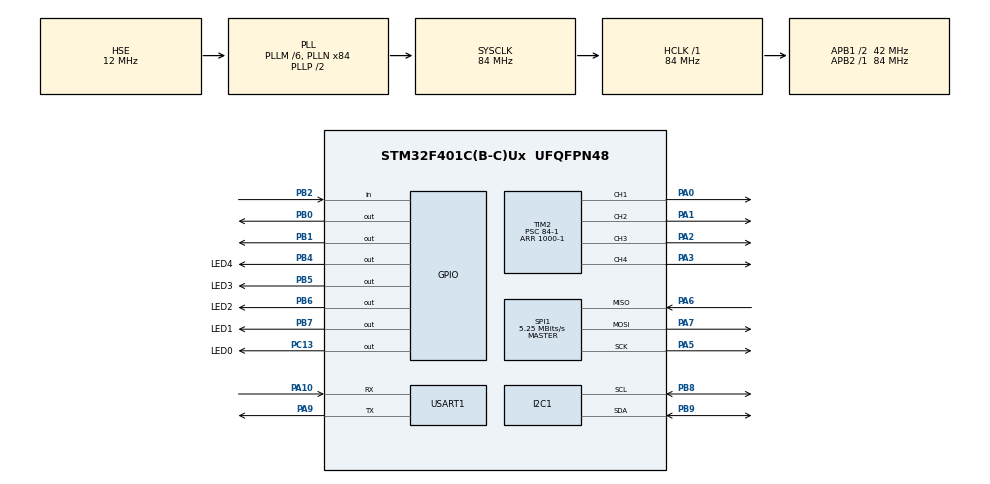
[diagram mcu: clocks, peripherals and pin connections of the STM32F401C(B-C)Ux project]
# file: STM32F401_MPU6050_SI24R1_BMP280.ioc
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Mcu.Family=STM32F4
Mcu.Name=STM32F401C(B-C)Ux
Mcu.Package=UFQFPN48
NVIC.I2C1_ER_IRQn=true\:0\:0\:false\:false\:true\:true\:true
NVIC.I2C1_EV_IRQn=true\:0\:0\:false\:false\:true\:true\:true
NVIC.PriorityGroup=NVIC_PRIORITYGROUP_4
NVIC.SPI1_IRQn=true\:0\:0\:false\:false\:true\:true\:true
NVIC.TIM2_IRQn=true\:0\:0\:false\:false\:true\:true\:true
NVIC.USART1_IRQn=true\:0\:0\:false\:false\:true\:true\:true
PA0-WKUP.GPIO_PuPd=GPIO_PULLUP
PA0-WKUP.GPIO_Speed=GPIO_SPEED_FREQ_LOW
PA0-WKUP.Signal=S_TIM2_CH1_ETR
PA1.GPIO_PuPd=GPIO_PULLUP
PA1.GPIO_Speed=GPIO_SPEED_FREQ_LOW
PA1.Signal=S_TIM2_CH2
PA10.Mode=Asynchronous
PA10.Signal=USART1_RX
PA13.Mode=Serial_Wire
PA13.Signal=SYS_JTMS-SWDIO
PA14.Mode=Serial_Wire
PA14.Signal=SYS_JTCK-SWCLK
PA2.GPIO_PuPd=GPIO_PULLUP
PA2.GPIO_Speed=GPIO_SPEED_FREQ_LOW
PA2.Signal=S_TIM2_CH3
PA3.GPIO_PuPd=GPIO_PULLUP
PA3.Signal=S_TIM2_CH4
PA5.Mode=Full_Duplex_Master
PA5.Signal=SPI1_SCK
PA6.Mode=Full_Duplex_Master
PA6.Signal=SPI1_MISO
PA7.Mode=Full_Duplex_Master
PA7.Signal=SPI1_MOSI
PA9.Mode=Asynchronous
PA9.Signal=USART1_TX
PB0.GPIO_PuPd=GPIO_PULLUP
PB0.GPIO_Speed=GPIO_SPEED_FREQ_HIGH
PB0.Signal=GPIO_Output
PB1.GPIO_PuPd=GPIO_PULLUP
PB1.GPIO_Speed=GPIO_SPEED_FREQ_HIGH
PB1.Signal=GPIO_Output
PB2.GPIO_PuPd=GPIO_NOPULL
PB2.Signal=GPIO_Input
PB4.GPIO_Label=LED4
PB4.GPIO_PuPd=GPIO_PULLUP
PB4.PinState=GPIO_PIN_SET
PB4.Signal=GPIO_Output
PB5.GPIO_Label=LED3
PB5.GPIO_PuPd=GPIO_PULLUP
PB5.PinState=GPIO_PIN_SET
PB5.Signal=GPIO_Output
PB6.GPIO_Label=LED2
PB6.GPIO_PuPd=GPIO_PULLUP
PB6.PinState=GPIO_PIN_SET
PB6.Signal=GPIO_Output
PB7.GPIO_Label=LED1
PB7.GPIO_PuPd=GPIO_PULLUP
PB7.PinState=GPIO_PIN_SET
PB7.Signal=GPIO_Output
PB8.Mode=I2C
PB8.Signal=I2C1_SCL
PB9.Mode=I2C
PB9.Signal=I2C1_SDA
PC13-ANTI_TAMP.GPIO_Label=LED0
PC13-ANTI_TAMP.GPIO_PuPd=GPIO_PULLUP
PC13-ANTI_TAMP.PinState=GPIO_PIN_SET
PC13-ANTI_TAMP.Signal=GPIO_Output
PH0\ -\ OSC_IN.Mode=HSE-External-Oscillator
PH0\ -\ OSC_IN.Signal=RCC_OSC_IN
PH1\ -\ OSC_OUT.Mode=HSE-External-Oscillator
PH1\ -\ OSC_OUT.Signal=RCC_OSC_OUT
ProjectManager.HeapSize=0x200
ProjectManager.StackSize=0x400
ProjectManager.TargetToolchain=MDK-ARM V5
RCC.48MHZClocksFreq_Value=42000000
RCC.AHBFreq_Value=84000000
RCC.APB1CLKDivider=RCC_HCLK_DIV2
RCC.APB1Freq_Value=42000000
RCC.APB1TimFreq_Value=84000000
RCC.APB2Freq_Value=84000000
RCC.APB2TimFreq_Value=84000000
RCC.CortexFreq_Value=84000000
RCC.HCLKFreq_Value=84000000
RCC.HSE_VALUE=12000000
RCC.HSI_VALUE=16000000
RCC.LSE_VALUE=32768
RCC.PLLM=6
RCC.PLLN=84
RCC.PLLSourceVirtual=RCC_PLLSOURCE_HSE
RCC.SYSCLKFreq_VALUE=84000000
RCC.SYSCLKSource=RCC_SYSCLKSOURCE_PLLCLK
RCC.VCOOutputFreq_Value=168000000
SH.S_TIM2_CH1_ETR.0=TIM2_CH1,PWM Generation1 CH1
SH.S_TIM2_CH2.0=TIM2_CH2,PWM Generation2 CH2
SH.S_TIM2_CH3.0=TIM2_CH3,PWM Generation3 CH3
SH.S_TIM2_CH4.0=TIM2_CH4,PWM Generation4 CH4
SPI1.BaudRatePrescaler=SPI_BAUDRATEPRESCALER_16
SPI1.CalculateBaudRate=5.25 MBits/s
SPI1.Direction=SPI_DIRECTION_2LINES
SPI1.Mode=SPI_MODE_MASTER
SPI1.VirtualType=VM_MASTER
TIM2.Channel-PWM\ Generation1\ CH1=TIM_CHANNEL_1
TIM2.Channel-PWM\ Generation2\ CH2=TIM_CHANNEL_2
TIM2.Channel-PWM\ Generation3\ CH3=TIM_CHANNEL_3
TIM2.Channel-PWM\ Generation4\ CH4=TIM_CHANNEL_4
TIM2.Period=1000-1
TIM2.Prescaler=84-1
USART1.VirtualMode=VM_ASYNC
VP_TIM2_VS_ClockSourceINT.Mode=Internal
board=custom

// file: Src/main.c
/* USER CODE BEGIN Header */
/**
  ******************************************************************************
  * @file           : main.c
  * @brief          : Main program body
  ******************************************************************************
  * @attention
  *
  * <h2><center>&copy; Copyright (c) 2022 STMicroelectronics.
  * All rights reserved.</center></h2>
  *
  * This software component is licensed by ST under BSD 3-Clause license,
  * the "License"; You may not use this file except in compliance with the
  * License. You may obtain a copy of the License at:
  *                        opensource.org/licenses/BSD-3-Clause
  *
  ******************************************************************************
  */
/* USER CODE END Header */

#include "main.h"
#include "i2c.h"
#include "spi.h"
#include "tim.h"
#include "usart.h"
#include "gpio.h"

/* USER CODE BEGIN Includes */
#include <stdio.h>
#include "mpu6050.h"//MPU6050驱动库
#include "inv_mpu.h"//陀螺仪驱动库
#include "inv_mpu_dmp_motion_driver.h" //DMP姿态解读库
#include "SI24R1.h"
#include "bmp280.h"
#include "pid.h"
/* USER CODE END Includes */

/* USER CODE BEGIN PM */
char tmp_buf[33];			//字符串数组
float pitch,roll,yaw; 		//欧拉角:俯仰角，偏航角，滚转角
short aacx,aacy,aacz;		//加速度传感器原始数据  angular acceleration
short gyrox,gyroy,gyroz;	//陀螺仪原始数据  gyroscope
short temp;					//温度

struct MPU6050				//MPU6050结构体
{
	u8 flag;				//采集成功标志位
	u8 speed;				//上报速度
}mpu6050;					//唯一结构体变量

//SI24R1有关变量
uint8_t Data[32]={0};

//BMP280相关变量
BMP280_HandleTypedef bmp280;

float pressure, temperature, humidity;

uint8_t bmp280_id = 0;

uint8_t ctr_reg = 0;
uint8_t status_reg = 0;

int32_t tem = 0;

double Pressure,Temperature;

PID_TYPE PID_ROL_Angle;
PID_TYPE PID_PIT_Angle;
PID_TYPE PID_YAW_Angle;

//
uint8_t Airplane_Enable = 0;
uint16_t motor_pwm[4]={0};
uint16_t motor_THROTTLE = 0;
float pitch_target=0,roll_target=0,yaw_target=0; 		//当前期望值：欧拉角:俯仰角，偏航角，滚转角

/* USER CODE END PM */

void SystemClock_Config(void);

int main(void)
{

  /* MCU Configuration--------------------------------------------------------*/

  /* Reset of all peripherals, Initializes the Flash interface and the Systick. */
  HAL_Init();

  /* Configure the system clock */
  SystemClock_Config();

  /* Initialize all configured peripherals */
  MX_GPIO_Init();
  MX_USART1_UART_Init();
  MX_SPI1_Init();
  MX_TIM2_Init();
  MX_I2C1_Init();
  /* USER CODE BEGIN 2 */
	MPU_Init();	//初始化MPU6050
	while(mpu_dmp_init())                   	//初始化mpu_dmp库
 	{
		printf("MPU6050 initialization failed！\r\n");	//串口初始化失败上报
	}
	printf("MPU6050 initialization succeed！\r\n");		//串口初始化成功上报
	HAL_Delay(999);														//延时初界面显示
	mpu6050.flag = 0;                      		//采集成功标志位初始化
	mpu6050.speed = 0;												//上报速度初始化

	//初始化BMP280
	bmp280_init_default_params(&bmp280.params);
	bmp280.addr = BMP280_I2C_ADDRESS_0;
	bmp280.i2c = &hi2c1;

	while (!bmp280_init(&bmp280, &bmp280.params)) {
		printf("BMP280 initialization failed!\n");
		HAL_Delay(2000);
	}
	//bool bme280p = bmp280.id == BME280_CHIP_ID;
	printf("BMP280 initialization succeed!\n");

	//初始化SI24R1
	while(NRF24L01_Check())
  {
	  printf("SI24R1 initialization failed！\r\n");
	  HAL_Delay(100);
  }
  printf("SI24R1 initialization succeed！\r\n");
  NRF24L01_RX_Mode();
	//开启PWM，控制电机
	HAL_TIM_PWM_Start(&htim2,TIM_CHANNEL_1);
	HAL_TIM_PWM_Start(&htim2,TIM_CHANNEL_2);
	HAL_TIM_PWM_Start(&htim2,TIM_CHANNEL_3);
	HAL_TIM_PWM_Start(&htim2,TIM_CHANNEL_4);

	//初始化PID
	pidParameter_init();

  /* USER CODE END 2 */

  /* Infinite loop */
  while (1)
  {

    /* USER CODE BEGIN 3 */
		//处理获取的MPU6050数据
		if(mpu_dmp_get_data(&pitch,&roll,&yaw)==0)//dmp处理得到数据，对返回值进行判断
		{
			temp=MPU_Get_Temperature();	                //得到温度值
			//MPU_Get_Accelerometer(&aacx,&aacy,&aacz);	//得到加速度传感器数据
			//MPU_Get_Gyroscope(&gyrox,&gyroy,&gyroz);	//得到陀螺仪数据
			mpu6050.speed++;                            //上报速度自加
			if(mpu6050.speed == 1)						//上报速度阈值设置
			{
				mpu6050.flag = 1;						//采集成功标志位设置为有效
				mpu6050.speed = 0;						//上报速度归零
			}
		}
		else 											//采集不成功
		{
			mpu6050.flag = 0;							//采集成功标志位设置为无效
		}

		if(mpu6050.flag == 1)						//采集成功时
		{
			PID_Postion_Cal(&PID_ROL_Angle,roll_target,roll);
			PID_Postion_Cal(&PID_PIT_Angle,pitch_target,pitch);
			PID_Postion_Cal(&PID_YAW_Angle,yaw_target,yaw);
			mpu6050.flag = 0;									//采集成功标志位设置为无效
		}
		else ;														//防卡死

		//获取BMP280数据
		while (!bmp280_read_float(&bmp280, &temperature, &pressure, &humidity)) {
			printf("BMP280 initialization failed!\t");
			HAL_Delay(500);
		}

//		printf("Pressure: %.2f Pa, Temperature: %.2f C\t\n",pressure, temperature);
//		if (bme280p) {
//			printf(", Humidity: %.2f\n", humidity);
//		}

		//获取SI24R1数据
		NRF24L01_RxPacket(Data);
//		if(NRF24L01_RxPacket(Data)==0)
//		{
//			printf("SI24R1数据为：");
//			for(char i = 0; i<8 ; i++)
//			{
//				printf("%d\t",Data[i]);
//			}
//			printf("\n");
//		}

		//控制电机
		if(Data[0]==1&&Airplane_Enable==0)		//一键起飞
		{
			Airplane_Enable = 1;
			motor_THROTTLE = 360;
			__HAL_TIM_SetCompare(&htim2,TIM_CHANNEL_1,motor_THROTTLE);
			__HAL_TIM_SetCompare(&htim2,TIM_CHANNEL_2,motor_THROTTLE);
			__HAL_TIM_SetCompare(&htim2,TIM_CHANNEL_3,motor_THROTTLE);
			__HAL_TIM_SetCompare(&htim2,TIM_CHANNEL_4,motor_THROTTLE);
		}
		else if(Data[0]==2)
		{
			Airplane_Enable = 0;
			motor_THROTTLE = 0;
			__HAL_TIM_SetCompare(&htim2,TIM_CHANNEL_1,0);
			__HAL_TIM_SetCompare(&htim2,TIM_CHANNEL_2,0);
			__HAL_TIM_SetCompare(&htim2,TIM_CHANNEL_3,0);
			__HAL_TIM_SetCompare(&htim2,TIM_CHANNEL_4,0);
		}

		if(Airplane_Enable){
			motor_pwm[0]=motor_THROTTLE-PID_ROL_Angle.OutPut-PID_PIT_Angle.OutPut+PID_YAW_Angle.OutPut;
			motor_pwm[1]=motor_THROTTLE-PID_ROL_Angle.OutPut+PID_PIT_Angle.OutPut-PID_YAW_Angle.OutPut;
			motor_pwm[2]=motor_THROTTLE+PID_ROL_Angle.OutPut+PID_PIT_Angle.OutPut+PID_YAW_Angle.OutPut;
			motor_pwm[3]=motor_THROTTLE+PID_ROL_Angle.OutPut-PID_PIT_Angle.OutPut-PID_YAW_Angle.OutPut;

			__HAL_TIM_SetCompare(&htim2,TIM_CHANNEL_1,motor_pwm[0]);
			__HAL_TIM_SetCompare(&htim2,TIM_CHANNEL_2,motor_pwm[1]);
			__HAL_TIM_SetCompare(&htim2,TIM_CHANNEL_3,motor_pwm[2]);
			__HAL_TIM_SetCompare(&htim2,TIM_CHANNEL_4,motor_pwm[3]);

		if(Data[4]>135)
			motor_THROTTLE = 360+5*(Data[4]-135);
		else if(Data[4]<100)
			motor_THROTTLE = 360-3*(100-Data[4]);
		else
			motor_THROTTLE = 360;
		if(Data[1]>135)
			roll_target = Data[1]-135;
		else if(Data[1]<100)
			roll_target = Data[1]-100;
		else
			roll_target=0;
		}
  }
  /* USER CODE END 3 */
}

void SystemClock_Config(void)
{
  RCC_OscInitTypeDef RCC_OscInitStruct = {0};
  RCC_ClkInitTypeDef RCC_ClkInitStruct = {0};

  /** Configure the main internal regulator output voltage
  */
  __HAL_RCC_PWR_CLK_ENABLE();
  __HAL_PWR_VOLTAGESCALING_CONFIG(PWR_REGULATOR_VOLTAGE_SCALE2);
  /** Initializes the CPU, AHB and APB busses clocks
  */
  RCC_OscInitStruct.OscillatorType = RCC_OSCILLATORTYPE_HSE;
  RCC_OscInitStruct.HSEState = RCC_HSE_ON;
  RCC_OscInitStruct.PLL.PLLState = RCC_PLL_ON;
  RCC_OscInitStruct.PLL.PLLSource = RCC_PLLSOURCE_HSE;
  RCC_OscInitStruct.PLL.PLLM = 6;
  RCC_OscInitStruct.PLL.PLLN = 84;
  RCC_OscInitStruct.PLL.PLLP = RCC_PLLP_DIV2;
  RCC_OscInitStruct.PLL.PLLQ = 4;
  if (HAL_RCC_OscConfig(&RCC_OscInitStruct) != HAL_OK)
  {
    Error_Handler();
  }
  /** Initializes the CPU, AHB and APB busses clocks
  */
  RCC_ClkInitStruct.ClockType = RCC_CLOCKTYPE_HCLK|RCC_CLOCKTYPE_SYSCLK
                              |RCC_CLOCKTYPE_PCLK1|RCC_CLOCKTYPE_PCLK2;
  RCC_ClkInitStruct.SYSCLKSource = RCC_SYSCLKSOURCE_PLLCLK;
  RCC_ClkInitStruct.AHBCLKDivider = RCC_SYSCLK_DIV1;
  RCC_ClkInitStruct.APB1CLKDivider = RCC_HCLK_DIV2;
  RCC_ClkInitStruct.APB2CLKDivider = RCC_HCLK_DIV1;

  if (HAL_RCC_ClockConfig(&RCC_ClkInitStruct, FLASH_LATENCY_2) != HAL_OK)
  {
    Error_Handler();
  }
}

void Error_Handler(void)
{
}

/************************ (C) COPYRIGHT STMicroelectronics *****END OF FILE****/
